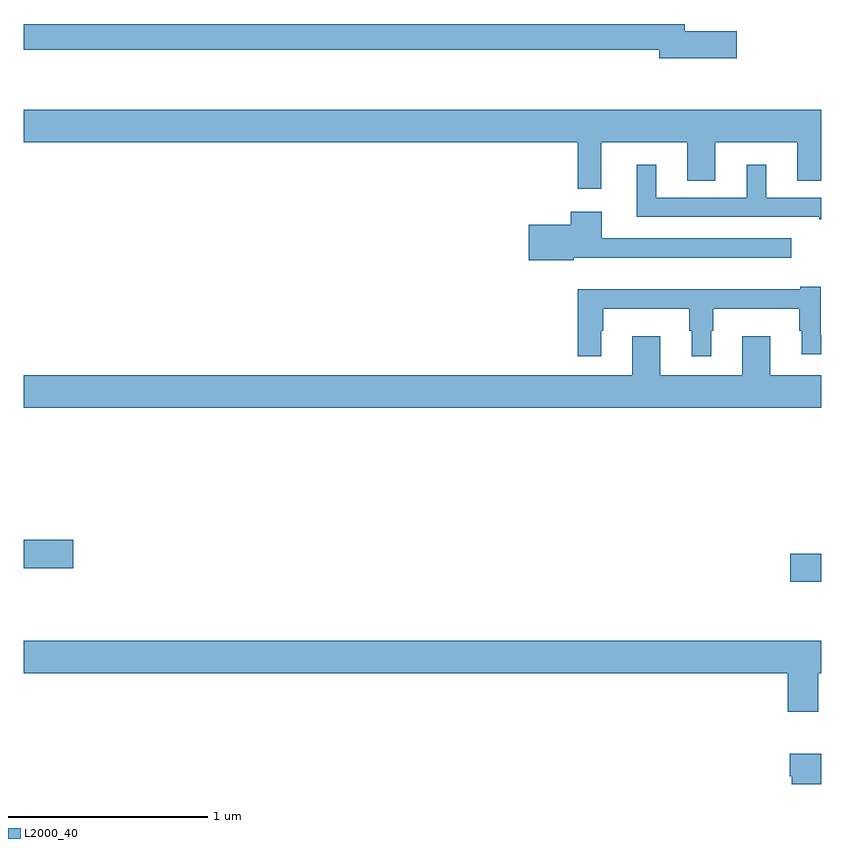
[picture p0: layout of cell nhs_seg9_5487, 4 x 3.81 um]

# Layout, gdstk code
import gdstk
lib = gdstk.Library(unit=1e-6, precision=1e-09)
def R(c, l, rs):  # rectangles x0, y0, x1, y1
    for r in rs: c.add(gdstk.rectangle(r[:2], r[2:], *l))
def P(c, l, *ps):  # polygons
    for p in ps: c.add(gdstk.Polygon(p, *l))
L2000_40 = (2000, 40)

nhs_seg9_5487 = lib.new_cell('nhs_seg9_5487')
R(nhs_seg9_5487, L2000_40, [(432.846,1227.514,433,1227.656), (429,1227.583,429.247,1227.725)])
P(nhs_seg9_5487, L2000_40, [(432.577,1230.278),(432.316,1230.278),(432.316,1230.314),(429,1230.314),(429,1230.186),(432.188,1230.186),(432.188,1230.143),(432.577,1230.143)],
  [(431.897,1229.72),(432.329,1229.72),(432.329,1229.527),(432.469,1229.527),(432.469,1229.72),(432.881,1229.72),(432.881,1229.527),(433,1229.527),(433,1229.884),(429,1229.884),(429,1229.72),(431.779,1229.72),(431.779,1229.487),(431.897,1229.487)],
  [(433,1229.442),(432.724,1229.442),(432.724,1229.608),(432.626,1229.608),(432.626,1229.442),(432.172,1229.442),(432.172,1229.608),(432.074,1229.608),(432.074,1229.346),(432.992,1229.346),(432.992,1229.334),(433,1229.334)],
  [(431.76,1229.141),(432.85,1229.141),(432.85,1229.238),(431.899,1229.238),(431.899,1229.371),(431.744,1229.371),(431.744,1229.307),(431.532,1229.307),(431.532,1229.129),(431.76,1229.129)],
  [(431.896,1228.775),(431.908,1228.775),(431.908,1228.886),(432.339,1228.886),(432.339,1228.775),(432.35,1228.775),(432.35,1228.647),(432.448,1228.647),(432.448,1228.775),(432.46,1228.775),(432.46,1228.886),(432.891,1228.886),(432.891,1228.775),(432.902,1228.775),(432.902,1228.656),(433,1228.656),(433,1228.752),(432.999,1228.752),(432.999,1228.996),(432.896,1228.996),(432.896,1228.984),(431.779,1228.984),(431.779,1228.647),(431.896,1228.647)],
  [(433,1228.552),(432.745,1228.552),(432.745,1228.747),(432.605,1228.747),(432.605,1228.552),(432.193,1228.552),(432.193,1228.747),(432.053,1228.747),(432.053,1228.552),(429,1228.552),(429,1228.388),(433,1228.388)],
  [(432.985,1227.056),(433,1227.056),(433,1227.22),(429,1227.22),(429,1227.056),(432.833,1227.056),(432.833,1226.862),(432.985,1226.862)],
  [(433,1226.653),(432.842,1226.653),(432.842,1226.54),(432.854,1226.54),(432.854,1226.5),(433,1226.5)])

lib.write_gds('nhs_seg9_5487.gds')
